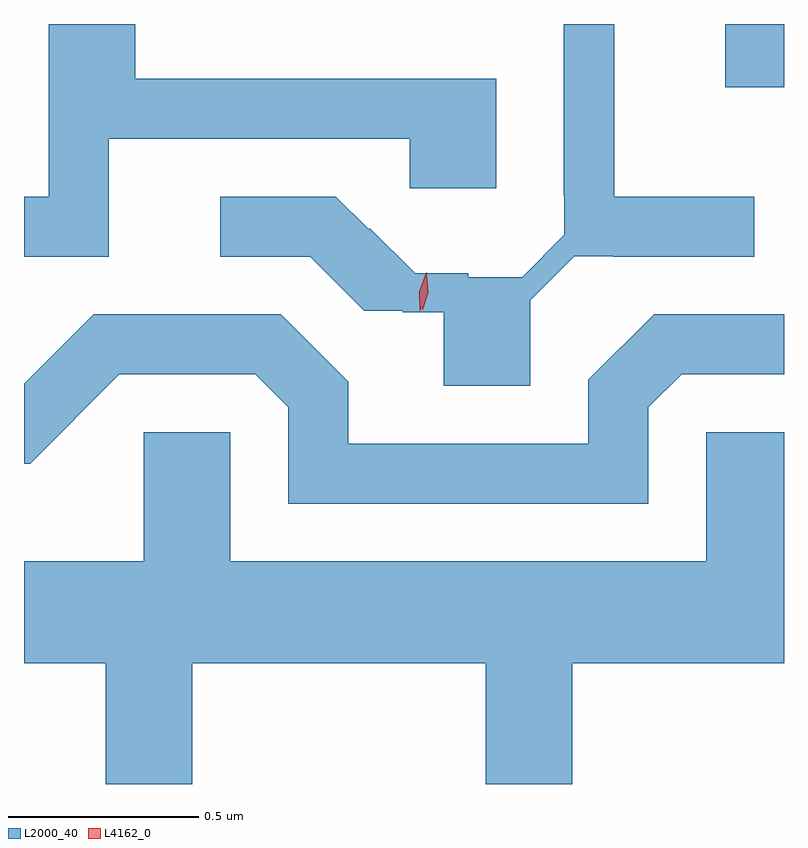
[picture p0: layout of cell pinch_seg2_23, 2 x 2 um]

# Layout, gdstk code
import gdstk
lib = gdstk.Library(unit=1e-6, precision=1e-09)
def R(c, l, rs):  # rectangles x0, y0, x1, y1
    for r in rs: c.add(gdstk.rectangle(r[:2], r[2:], *l))
def P(c, l, *ps):  # polygons
    for p in ps: c.add(gdstk.Polygon(p, *l))
L2000_40 = (2000, 40)
L4162_0 = (4162, 0)

pinch_seg2_23 = lib.new_cell('pinch_seg2_23')
R(pinch_seg2_23, L2000_40, [(1668.481,1027.631,1668.636,1027.798)])
P(pinch_seg2_23, L2000_40, [(1666.859,1027.496),(1667.651,1027.496),(1667.651,1027.366),(1667.879,1027.366),(1667.879,1027.654),(1666.929,1027.654),(1666.929,1027.798),(1666.701,1027.798),(1666.701,1027.344),(1666.636,1027.344),(1666.636,1027.186),(1666.859,1027.186)],
  [(1667.968,1027.071),(1668.084,1027.187),(1668.187,1027.187),(1668.187,1027.186),(1668.558,1027.186),(1668.558,1027.344),(1668.189,1027.344),(1668.189,1027.798),(1668.057,1027.798),(1668.057,1027.346),(1668.058,1027.346),(1668.058,1027.243),(1667.947,1027.132),(1667.805,1027.132),(1667.805,1027.142),(1667.665,1027.142),(1667.546,1027.261),(1667.543,1027.258),(1667.457,1027.344),(1667.153,1027.344),(1667.153,1027.186),(1667.389,1027.186),(1667.532,1027.043),(1667.633,1027.043),(1667.633,1027.04),(1667.741,1027.04),(1667.741,1026.846),(1667.968,1026.846)],
  [(1668.279,1026.789),(1668.367,1026.876),(1668.636,1026.876),(1668.636,1027.034),(1668.294,1027.034),(1668.121,1026.862),(1668.121,1026.694),(1667.489,1026.694),(1667.489,1026.857),(1667.312,1027.034),(1666.819,1027.034),(1666.636,1026.851),(1666.636,1026.641),(1666.652,1026.641),(1666.887,1026.876),(1667.244,1026.876),(1667.331,1026.789),(1667.331,1026.536),(1668.279,1026.536)],
  [(1667.079,1026.116),(1667.851,1026.116),(1667.851,1025.798),(1668.079,1025.798),(1668.079,1026.116),(1668.636,1026.116),(1668.636,1026.724),(1668.431,1026.724),(1668.431,1026.384),(1667.179,1026.384),(1667.179,1026.724),(1666.951,1026.724),(1666.951,1026.384),(1666.636,1026.384),(1666.636,1026.116),(1666.851,1026.116),(1666.851,1025.798),(1667.079,1025.798)])
P(pinch_seg2_23, L4162_0, [(1667.677,1027.042),(1667.677,1027.042),(1667.676,1027.095),(1667.695,1027.144),(1667.695,1027.144),(1667.696,1027.144),(1667.696,1027.091),(1667.678,1027.042)],
  [(1667.684,1027.046),(1667.68,1027.094),(1667.695,1027.139),(1667.696,1027.139),(1667.696,1027.139),(1667.7,1027.091),(1667.685,1027.046),(1667.685,1027.046)])

lib.write_gds('pinch_seg2_23.gds')
